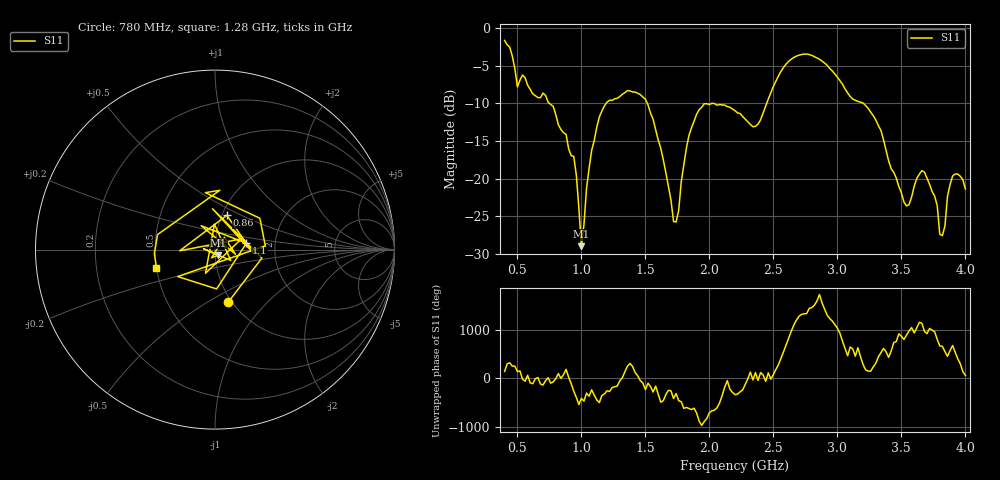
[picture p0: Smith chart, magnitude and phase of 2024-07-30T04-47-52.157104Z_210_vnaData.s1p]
!Created with skrf (http://scikit-rf.org).
# Hz S RI R 50.0
!freq ReS11 ImS11
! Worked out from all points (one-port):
!   181 points, 400 MHz to 4 GHz, reference 50 ohm
!   lowest |S11| = -29.0 dB at 1 GHz (marker M1), VSWR 1.07, Z = 51.9 - j3.11 ohm
!   |S11| at or under -10 dB: 750.1 MHz to 1.194 GHz (443.4 MHz wide, 45.6 % of centre); 1.515 GHz to 2.019 GHz (503.8 MHz wide, 28.5 % of centre); 3.203 GHz to end of sweep (the widest 3 of 4)
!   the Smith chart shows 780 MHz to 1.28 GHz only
!   S11 on the Smith chart (normalised r, x): 780 MHz: 0.96, -0.62; 860 MHz: 1.06, +0.42; 1.1 GHz: 1.42, +0.11; 1.28 GHz: 0.50, -0.11
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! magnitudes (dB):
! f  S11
! 400 MHz  -1.7
! 500 MHz  -7.8
! 780 MHz  -10.4
! 860 MHz  -13.9
! 940 MHz  -17.0
! 1 GHz  -29.0
! 1.04 GHz  -21.3
! 1.1 GHz  -14.9
! 1.18 GHz  -10.3
! 1.28 GHz  -9.3
! 1.3 GHz  -9.1
! 1.5 GHz  -9.5
! 1.62 GHz  -16.0
! 1.72 GHz  -25.7
! 1.76 GHz  -24.2
! 1.84 GHz  -14.3
! 1.92 GHz  -10.8
! 2.2 GHz  -11.0
! 2.38 GHz  -12.8
! 2.66 GHz  -3.9
! 2.86 GHz  -4.1
! 3.1 GHz  -9.1
! 3.3 GHz  -12.2
! 3.56 GHz  -23.4
! 3.68 GHz  -19.1
! 3.82 GHz  -27.5
! 3.9 GHz  -19.6
! 4 GHz  -21.4
